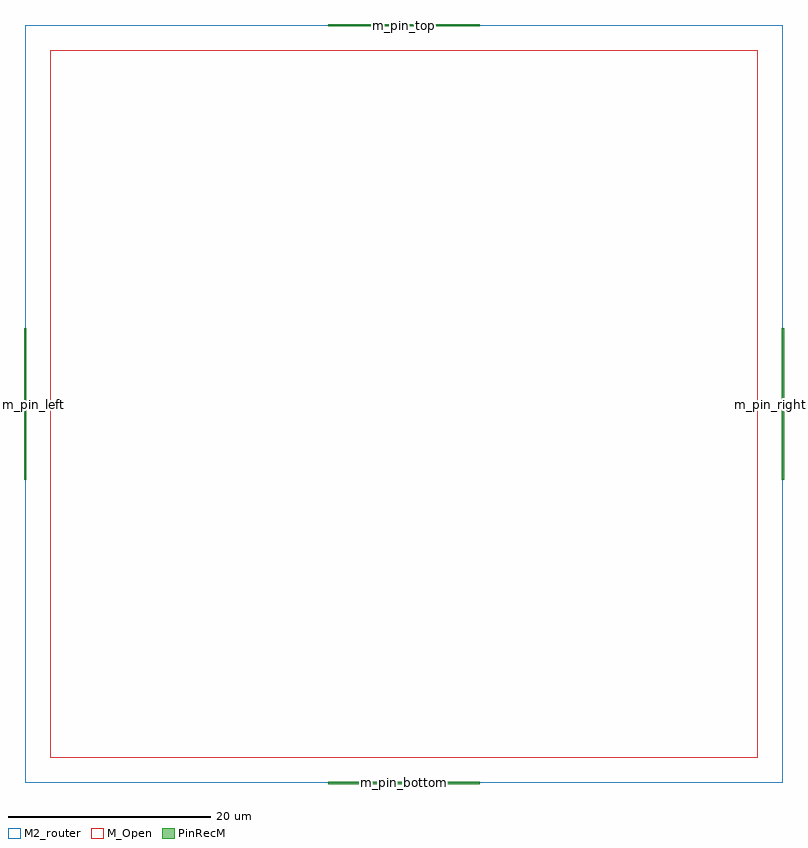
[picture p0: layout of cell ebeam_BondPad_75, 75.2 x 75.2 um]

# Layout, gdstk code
import gdstk
lib = gdstk.Library(unit=1e-6, precision=1e-09)
def R(c, l, rs):  # rectangles x0, y0, x1, y1
    for r in rs: c.add(gdstk.rectangle(r[:2], r[2:], *l))
PinRecM = (1, 11)
M2_router = (12, 0)
M_Open = (13, 0)

ebeam_bondpad_75 = lib.new_cell('ebeam_BondPad_75')
R(ebeam_bondpad_75, M2_router, [(-37.5,-37.5,37.5,37.5)])
R(ebeam_bondpad_75, M_Open, [(-35,-35,35,35)])
ebeam_bondpad_75.add(gdstk.FlexPath([(0,37.4),(0,37.6)], 15, ends="flush", simple_path=True, layer=1, datatype=11))  # PinRecM
ebeam_bondpad_75.add(gdstk.FlexPath([(0,-37.4),(0,-37.6)], 15, ends="flush", simple_path=True, layer=1, datatype=11))  # PinRecM
ebeam_bondpad_75.add(gdstk.FlexPath([(37.4,0),(37.6,0)], 15, ends="flush", simple_path=True, layer=1, datatype=11))  # PinRecM
ebeam_bondpad_75.add(gdstk.FlexPath([(-37.4,0),(-37.6,0)], 15, ends="flush", simple_path=True, layer=1, datatype=11))  # PinRecM
ebeam_bondpad_75.add(gdstk.Label('m_pin_top', (0,37.5), layer=1, texttype=11))
ebeam_bondpad_75.add(gdstk.Label('m_pin_bottom', (0,-37.5), layer=1, texttype=11))
ebeam_bondpad_75.add(gdstk.Label('m_pin_right', (37.5,0), layer=1, texttype=11))
ebeam_bondpad_75.add(gdstk.Label('m_pin_left', (-37.5,0), layer=1, texttype=11))

lib.write_gds('ebeam_BondPad_75.gds')
